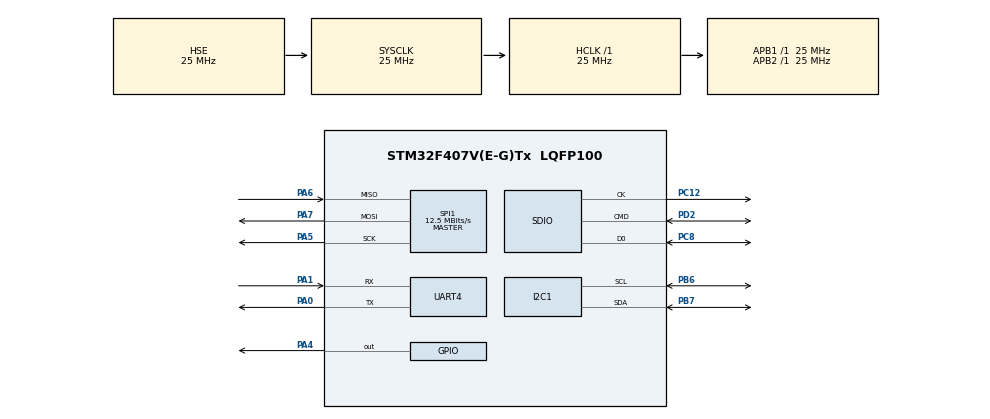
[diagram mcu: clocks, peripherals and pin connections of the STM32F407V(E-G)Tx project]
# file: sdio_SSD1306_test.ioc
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I2C1.I2C_Mode=I2C_Standard
Mcu.Family=STM32F4
Mcu.Name=STM32F407V(E-G)Tx
Mcu.Package=LQFP100
NVIC.PriorityGroup=NVIC_PRIORITYGROUP_4
PA0-WKUP.Mode=Asynchronous
PA0-WKUP.Signal=UART4_TX
PA1.Mode=Asynchronous
PA1.Signal=UART4_RX
PA13.Mode=Serial_Wire
PA13.Signal=SYS_JTMS-SWDIO
PA14.Mode=Serial_Wire
PA14.Signal=SYS_JTCK-SWCLK
PA4.GPIO_PuPd=GPIO_PULLUP
PA4.PinState=GPIO_PIN_RESET
PA4.Signal=GPIO_Output
PA5.Mode=Full_Duplex_Master
PA5.Signal=SPI1_SCK
PA6.Mode=Full_Duplex_Master
PA6.Signal=SPI1_MISO
PA7.Mode=Full_Duplex_Master
PA7.Signal=SPI1_MOSI
PB6.Mode=I2C
PB6.Signal=I2C1_SCL
PB7.Mode=I2C
PB7.Signal=I2C1_SDA
PC12.Mode=SD_1_bit
PC12.Signal=SDIO_CK
PC8.Mode=SD_1_bit
PC8.Signal=SDIO_D0
PD2.Mode=SD_1_bit
PD2.Signal=SDIO_CMD
PH0-OSC_IN.Mode=HSE-External-Oscillator
PH0-OSC_IN.Signal=RCC_OSC_IN
PH1-OSC_OUT.Mode=HSE-External-Oscillator
PH1-OSC_OUT.Signal=RCC_OSC_OUT
ProjectManager.HeapSize=0x200
ProjectManager.StackSize=0x400
ProjectManager.TargetToolchain=STM32CubeIDE
RCC.48MHZClocksFreq_Value=30000000
RCC.AHBFreq_Value=25000000
RCC.APB1Freq_Value=25000000
RCC.APB1TimFreq_Value=25000000
RCC.APB2Freq_Value=25000000
RCC.APB2TimFreq_Value=25000000
RCC.CortexFreq_Value=25000000
RCC.HCLKFreq_Value=25000000
RCC.HSE_VALUE=25000000
RCC.HSI_VALUE=16000000
RCC.LSE_VALUE=32768
RCC.PLLQ=10
RCC.PLLSourceVirtual=RCC_PLLSOURCE_HSE
RCC.SYSCLKFreq_VALUE=25000000
RCC.SYSCLKSource=RCC_SYSCLKSOURCE_HSE
RCC.VCOOutputFreq_Value=300000000
SPI1.CalculateBaudRate=12.5 MBits/s
SPI1.Direction=SPI_DIRECTION_2LINES
SPI1.Mode=SPI_MODE_MASTER
SPI1.VirtualType=VM_MASTER
UART4.VirtualMode=Asynchronous
VP_FATFS_VS_SDIO.Mode=SDIO
board=custom

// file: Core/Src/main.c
/* USER CODE BEGIN Header */
/**
  ******************************************************************************
  * @file           : main.c
  * @brief          : Main program body
  ******************************************************************************
  * @attention
  *
  * Copyright (c) 2024 STMicroelectronics.
  * All rights reserved.
  *
  * This software is licensed under terms that can be found in the LICENSE file
  * in the root directory of this software component.
  * If no LICENSE file comes with this software, it is provided AS-IS.
  *
  ******************************************************************************
  */
/* USER CODE END Header */
#include "main.h"
#include "fatfs.h"

/* USER CODE BEGIN Includes */
#include "fonts.h"
#include "ssd1306.h"
#include <stdio.h>
//#include "HTU21D.h"
/* USER CODE END Includes */

I2C_HandleTypeDef hi2c1;

SD_HandleTypeDef hsd;

SPI_HandleTypeDef hspi1;

UART_HandleTypeDef huart4;

void SystemClock_Config(void);
static void MX_GPIO_Init(void);
static void MX_I2C1_Init(void);
static void MX_SDIO_SD_Init(void);
static void MX_SPI1_Init(void);
static void MX_UART4_Init(void);

int main(void)
{

  /* MCU Configuration--------------------------------------------------------*/

  /* Reset of all peripherals, Initializes the Flash interface and the Systick. */
  HAL_Init();

  /* Configure the system clock */
  SystemClock_Config();

  /* Initialize all configured peripherals */
  MX_GPIO_Init();
  MX_I2C1_Init();
  MX_SDIO_SD_Init();
  MX_FATFS_Init();
  MX_SPI1_Init();
  MX_UART4_Init();
  /* USER CODE BEGIN 2 */

  uint16_t address_TX = 0x81;
  uint16_t address_RX = 0x80;
  uint8_t reset_CMD = 0xFE;
  uint16_t read_temper_CMD = 0xE3;

  uint8_t data[3] = {0, 0, 0};
  HAL_StatusTypeDef status;

  //status = HAL_I2C_Master_Transmit(&hi2c1, address_TX, &read_temper_CMD, 1, HAL_MAX_DELAY);
  //status = HAL_I2C_Master_Receive(&hi2c1, address_RX, &data[0], 3, HAL_MAX_DELAY);

  status = HAL_I2C_Mem_Read(&hi2c1, address_RX, read_temper_CMD, I2C_MEMADD_SIZE_8BIT, &data[0], 2, 1000);

  ssd1306_Init(&hi2c1);
  ssd1306_Fill(White);
  ssd1306_UpdateScreen(&hi2c1);

  uint16_t raw_temper = (data[0]<<8)|(data[1]);
  float temper =0 - 46.85 + 175.72*((float)raw_temper/65536);

  char str[20];
  sprintf(str, "%.4f", temper);

  ssd1306_SetCursor(0,3);		//step 0,15
  ssd1306_WriteString(&str[0], Font_7x10, Black);
  ssd1306_UpdateScreen(&hi2c1);

  uint8_t tx_spi = 0x00|0b10000000;
  uint8_t rx1_spi = 0x00;
  uint8_t rx2_spi = 0x00;
  uint8_t init_spi = 0x7F|0b10000000;		//single send to BMI for using SPI, 0b10000000 meaning it's read access (i want to read from this address)
  HAL_StatusTypeDef status_SPI1, status_SPI2, status_SPI3, status_SPI4, status_SPI5, status_SPI6, status_SPI7, status_SPI8,
  status_SPI9, status_SPI10, status_SPI11, status_SPI12, status_SPI13, status_SPI14, status_SPI15, status_SPI16;

  HAL_GPIO_WritePin(GPIOA, GPIO_PIN_4, 1);

  HAL_GPIO_WritePin(GPIOA, GPIO_PIN_4, 0);
  status_SPI1 =  HAL_SPI_Transmit(&hspi1, &init_spi, 1, HAL_MAX_DELAY);
  status_SPI4 = HAL_SPI_Receive(&hspi1, &rx1_spi, 1, HAL_MAX_DELAY);
  HAL_GPIO_WritePin(GPIOA, GPIO_PIN_4, 1);
  HAL_GPIO_WritePin(GPIOA, GPIO_PIN_4, 0);
  status_SPI2 =  HAL_SPI_Transmit(&hspi1, &tx_spi, 1, HAL_MAX_DELAY);
  status_SPI3 = HAL_SPI_Receive(&hspi1, &rx2_spi, 1, HAL_MAX_DELAY);
  HAL_GPIO_WritePin(GPIOA, GPIO_PIN_4, 1);

  //read PMU status
   uint8_t PMU_status_addres = 0x03|0b10000000;
   uint8_t PMU_status_result = 0xFF;
   HAL_GPIO_WritePin(GPIOA, GPIO_PIN_4, 0);
   HAL_SPI_Transmit(&hspi1, &PMU_status_addres, 1, HAL_MAX_DELAY);
   HAL_SPI_Receive(&hspi1, &PMU_status_result, 1, HAL_MAX_DELAY);
   HAL_GPIO_WritePin(GPIOA, GPIO_PIN_4, 1);

   //HAL_Delay(100);

   //cmd make gyr normal mode
   uint8_t cmd_addr = 0x7E;
   uint8_t set_gyr_norm = /*0b00010111*/0x15;
   uint8_t set_gyr_fast = 0x17;
   /**/

   if(PMU_status_result == 0)
   {
	   HAL_GPIO_WritePin(GPIOA, GPIO_PIN_4, 0);
	      HAL_SPI_Transmit(&hspi1, &cmd_addr, 1, HAL_MAX_DELAY);
	      HAL_SPI_Transmit(&hspi1, &set_gyr_fast, 1, HAL_MAX_DELAY);
	      HAL_GPIO_WritePin(GPIOA, GPIO_PIN_4, 1);

		   HAL_GPIO_WritePin(GPIOA, GPIO_PIN_4, 0);
		   HAL_SPI_Transmit(&hspi1, &cmd_addr, 1, HAL_MAX_DELAY);
		   HAL_SPI_Transmit(&hspi1, &set_gyr_norm, 1, HAL_MAX_DELAY);
		   HAL_GPIO_WritePin(GPIOA, GPIO_PIN_4, 1);
   }else if(PMU_status_result == 0b1100){
	   HAL_GPIO_WritePin(GPIOA, GPIO_PIN_4, 0);
	   HAL_SPI_Transmit(&hspi1, &cmd_addr, 1, HAL_MAX_DELAY);
	   HAL_SPI_Transmit(&hspi1, &set_gyr_norm, 1, HAL_MAX_DELAY);
	   HAL_GPIO_WritePin(GPIOA, GPIO_PIN_4, 1);
   }

  // HAL_Delay(100);

   HAL_GPIO_WritePin(GPIOA, GPIO_PIN_4, 0);
   HAL_SPI_Transmit(&hspi1, &PMU_status_addres, 1, HAL_MAX_DELAY);
   HAL_SPI_Receive(&hspi1, &PMU_status_result, 1, HAL_MAX_DELAY);
   HAL_GPIO_WritePin(GPIOA, GPIO_PIN_4, 1);

   //HAL_Delay(100);

  //get status of data (is it ready)
  uint8_t data_status_addr = 0x1B|0b10000000;
  uint8_t data_status_result = 0xFF;
  while((data_status_result != 0b01010000) && (data_status_result == 0xFF)){
	  HAL_GPIO_WritePin(GPIOA, GPIO_PIN_4, 0);
	  HAL_SPI_Transmit(&hspi1, &data_status_addr, 1, HAL_MAX_DELAY);
	  HAL_SPI_Receive(&hspi1, &data_status_result, 1, HAL_MAX_DELAY);
	  HAL_GPIO_WritePin(GPIOA, GPIO_PIN_4, 1);
	  HAL_Delay(10);
  }

  //getting GYR xyz data from BMI
  uint8_t x_GYR_addr_MSB = 0x0D|0b10000000;
  uint8_t x_GYR_addr_LSB = 0x0C|0b10000000;
  uint8_t y_GYR_addr_MSB = 0x0F|0b10000000;
  uint8_t y_GYR_addr_LSB = 0x0E|0b10000000;
  uint8_t z_GYR_addr_MSB = 0x11|0b10000000;
  uint8_t z_GYR_addr_LSB = 0x10|0b10000000;

  uint8_t x_GYR_data_MSB = 0;
  uint8_t x_GYR_data_LSB = 0;
  uint8_t y_GYR_data_MSB = 0;
  uint8_t y_GYR_data_LSB = 0;
  uint8_t z_GYR_data_MSB = 0;
  uint8_t z_GYR_data_LSB = 0;
  HAL_GPIO_WritePin(GPIOA, GPIO_PIN_4, 0);
  status_SPI5 = HAL_SPI_Transmit(&hspi1, &x_GYR_addr_MSB, 1, HAL_MAX_DELAY);
  status_SPI6 = HAL_SPI_Receive(&hspi1, &x_GYR_data_MSB, 1, HAL_MAX_DELAY);
  HAL_GPIO_WritePin(GPIOA, GPIO_PIN_4, 1);

  HAL_GPIO_WritePin(GPIOA, GPIO_PIN_4, 0);
  status_SPI7 = HAL_SPI_Transmit(&hspi1, &x_GYR_addr_LSB, 1, HAL_MAX_DELAY);
  status_SPI8 = HAL_SPI_Receive(&hspi1, &x_GYR_data_LSB, 1, HAL_MAX_DELAY);
  HAL_GPIO_WritePin(GPIOA, GPIO_PIN_4, 1);

  HAL_GPIO_WritePin(GPIOA, GPIO_PIN_4, 0);
  status_SPI9 = HAL_SPI_Transmit(&hspi1, &y_GYR_addr_MSB, 1, HAL_MAX_DELAY);
  status_SPI10 = HAL_SPI_Receive(&hspi1, &y_GYR_data_MSB, 1, HAL_MAX_DELAY);
  HAL_GPIO_WritePin(GPIOA, GPIO_PIN_4, 1);

  HAL_GPIO_WritePin(GPIOA, GPIO_PIN_4, 0);
  status_SPI11 = HAL_SPI_Transmit(&hspi1, &y_GYR_addr_LSB, 1, HAL_MAX_DELAY);
  status_SPI12 = HAL_SPI_Receive(&hspi1, &y_GYR_data_LSB, 1, HAL_MAX_DELAY);
  HAL_GPIO_WritePin(GPIOA, GPIO_PIN_4, 1);

  HAL_GPIO_WritePin(GPIOA, GPIO_PIN_4, 0);
  status_SPI13 = HAL_SPI_Transmit(&hspi1, &z_GYR_addr_MSB, 1, HAL_MAX_DELAY);
  status_SPI14 = HAL_SPI_Receive(&hspi1, &z_GYR_data_MSB, 1, HAL_MAX_DELAY);
  HAL_GPIO_WritePin(GPIOA, GPIO_PIN_4, 1);

  HAL_GPIO_WritePin(GPIOA, GPIO_PIN_4, 0);
  status_SPI15 = HAL_SPI_Transmit(&hspi1, &z_GYR_addr_LSB, 1, HAL_MAX_DELAY);
  status_SPI16 = HAL_SPI_Receive(&hspi1, &z_GYR_data_LSB, 1, HAL_MAX_DELAY);
  HAL_GPIO_WritePin(GPIOA, GPIO_PIN_4, 1);

  uint16_t x_GYR_data = (x_GYR_data_MSB<<8)|x_GYR_data_LSB;
  uint16_t y_GYR_data = (y_GYR_data_MSB<<8)|y_GYR_data_LSB;
  uint16_t z_GYR_data = (z_GYR_data_MSB<<8)|z_GYR_data_LSB;

  char str_x_GYR[20];
  char str_y_GYR[20];
  char str_z_GYR[20];
  sprintf(str_x_GYR, "%d", x_GYR_data);
  sprintf(str_y_GYR, "%d", y_GYR_data);
  sprintf(str_z_GYR, "%d", z_GYR_data);

  ssd1306_SetCursor(0,15);
  ssd1306_WriteString(&str_x_GYR[0], Font_7x10, Black);
  ssd1306_SetCursor(0,30);
  ssd1306_WriteString(&str_y_GYR[0], Font_7x10, Black);
  ssd1306_SetCursor(0,45);
  ssd1306_WriteString(&str_z_GYR[0], Font_7x10, Black);
  ssd1306_UpdateScreen(&hi2c1);
  /* USER CODE END 2 */

  /* Infinite loop */
  while (1)
  {

  }
}

void SystemClock_Config(void)
{
  RCC_OscInitTypeDef RCC_OscInitStruct = {0};
  RCC_ClkInitTypeDef RCC_ClkInitStruct = {0};

  /** Configure the main internal regulator output voltage
  */
  __HAL_RCC_PWR_CLK_ENABLE();
  __HAL_PWR_VOLTAGESCALING_CONFIG(PWR_REGULATOR_VOLTAGE_SCALE1);

  /** Initializes the RCC Oscillators according to the specified parameters
  * in the RCC_OscInitTypeDef structure.
  */
  RCC_OscInitStruct.OscillatorType = RCC_OSCILLATORTYPE_HSE;
  RCC_OscInitStruct.HSEState = RCC_HSE_ON;
  RCC_OscInitStruct.PLL.PLLState = RCC_PLL_ON;
  RCC_OscInitStruct.PLL.PLLSource = RCC_PLLSOURCE_HSE;
  RCC_OscInitStruct.PLL.PLLM = 16;
  RCC_OscInitStruct.PLL.PLLN = 192;
  RCC_OscInitStruct.PLL.PLLP = RCC_PLLP_DIV2;
  RCC_OscInitStruct.PLL.PLLQ = 10;
  if (HAL_RCC_OscConfig(&RCC_OscInitStruct) != HAL_OK)
  {
    Error_Handler();
  }

  /** Initializes the CPU, AHB and APB buses clocks
  */
  RCC_ClkInitStruct.ClockType = RCC_CLOCKTYPE_HCLK|RCC_CLOCKTYPE_SYSCLK
                              |RCC_CLOCKTYPE_PCLK1|RCC_CLOCKTYPE_PCLK2;
  RCC_ClkInitStruct.SYSCLKSource = RCC_SYSCLKSOURCE_HSE;
  RCC_ClkInitStruct.AHBCLKDivider = RCC_SYSCLK_DIV1;
  RCC_ClkInitStruct.APB1CLKDivider = RCC_HCLK_DIV1;
  RCC_ClkInitStruct.APB2CLKDivider = RCC_HCLK_DIV1;

  if (HAL_RCC_ClockConfig(&RCC_ClkInitStruct, FLASH_LATENCY_0) != HAL_OK)
  {
    Error_Handler();
  }
}

static void MX_I2C1_Init(void)
{

  hi2c1.Instance = I2C1;
  hi2c1.Init.ClockSpeed = 100000;
  hi2c1.Init.DutyCycle = I2C_DUTYCYCLE_2;
  hi2c1.Init.OwnAddress1 = 0;
  hi2c1.Init.AddressingMode = I2C_ADDRESSINGMODE_7BIT;
  hi2c1.Init.DualAddressMode = I2C_DUALADDRESS_DISABLE;
  hi2c1.Init.OwnAddress2 = 0;
  hi2c1.Init.GeneralCallMode = I2C_GENERALCALL_DISABLE;
  hi2c1.Init.NoStretchMode = I2C_NOSTRETCH_DISABLE;
  if (HAL_I2C_Init(&hi2c1) != HAL_OK)
  {
    Error_Handler();
  }

}

static void MX_SDIO_SD_Init(void)
{

  hsd.Instance = SDIO;
  hsd.Init.ClockEdge = SDIO_CLOCK_EDGE_RISING;
  hsd.Init.ClockBypass = SDIO_CLOCK_BYPASS_DISABLE;
  hsd.Init.ClockPowerSave = SDIO_CLOCK_POWER_SAVE_DISABLE;
  hsd.Init.BusWide = SDIO_BUS_WIDE_1B;
  hsd.Init.HardwareFlowControl = SDIO_HARDWARE_FLOW_CONTROL_DISABLE;
  hsd.Init.ClockDiv = 0;

}

static void MX_SPI1_Init(void)
{

  /* SPI1 parameter configuration*/
  hspi1.Instance = SPI1;
  hspi1.Init.Mode = SPI_MODE_MASTER;
  hspi1.Init.Direction = SPI_DIRECTION_2LINES;
  hspi1.Init.DataSize = SPI_DATASIZE_8BIT;
  hspi1.Init.CLKPolarity = SPI_POLARITY_LOW;
  hspi1.Init.CLKPhase = SPI_PHASE_1EDGE;
  hspi1.Init.NSS = SPI_NSS_SOFT;
  hspi1.Init.BaudRatePrescaler = SPI_BAUDRATEPRESCALER_2;
  hspi1.Init.FirstBit = SPI_FIRSTBIT_MSB;
  hspi1.Init.TIMode = SPI_TIMODE_DISABLE;
  hspi1.Init.CRCCalculation = SPI_CRCCALCULATION_DISABLE;
  hspi1.Init.CRCPolynomial = 10;
  if (HAL_SPI_Init(&hspi1) != HAL_OK)
  {
    Error_Handler();
  }

}

static void MX_UART4_Init(void)
{

  huart4.Instance = UART4;
  huart4.Init.BaudRate = 115200;
  huart4.Init.WordLength = UART_WORDLENGTH_8B;
  huart4.Init.StopBits = UART_STOPBITS_1;
  huart4.Init.Parity = UART_PARITY_NONE;
  huart4.Init.Mode = UART_MODE_TX_RX;
  huart4.Init.HwFlowCtl = UART_HWCONTROL_NONE;
  huart4.Init.OverSampling = UART_OVERSAMPLING_16;
  if (HAL_UART_Init(&huart4) != HAL_OK)
  {
    Error_Handler();
  }

}

static void MX_GPIO_Init(void)
{
  GPIO_InitTypeDef GPIO_InitStruct = {0};

  /* GPIO Ports Clock Enable */
  __HAL_RCC_GPIOH_CLK_ENABLE();
  __HAL_RCC_GPIOA_CLK_ENABLE();
  __HAL_RCC_GPIOC_CLK_ENABLE();
  __HAL_RCC_GPIOD_CLK_ENABLE();
  __HAL_RCC_GPIOB_CLK_ENABLE();

  /*Configure GPIO pin Output Level */
  HAL_GPIO_WritePin(GPIOA, GPIO_PIN_4, GPIO_PIN_RESET);

  /*Configure GPIO pin : PA4 */
  GPIO_InitStruct.Pin = GPIO_PIN_4;
  GPIO_InitStruct.Mode = GPIO_MODE_OUTPUT_PP;
  GPIO_InitStruct.Pull = GPIO_PULLUP;
  GPIO_InitStruct.Speed = GPIO_SPEED_FREQ_LOW;
  HAL_GPIO_Init(GPIOA, &GPIO_InitStruct);

}

void Error_Handler(void)
{
  __disable_irq();
  while (1)
  {
  }
}
